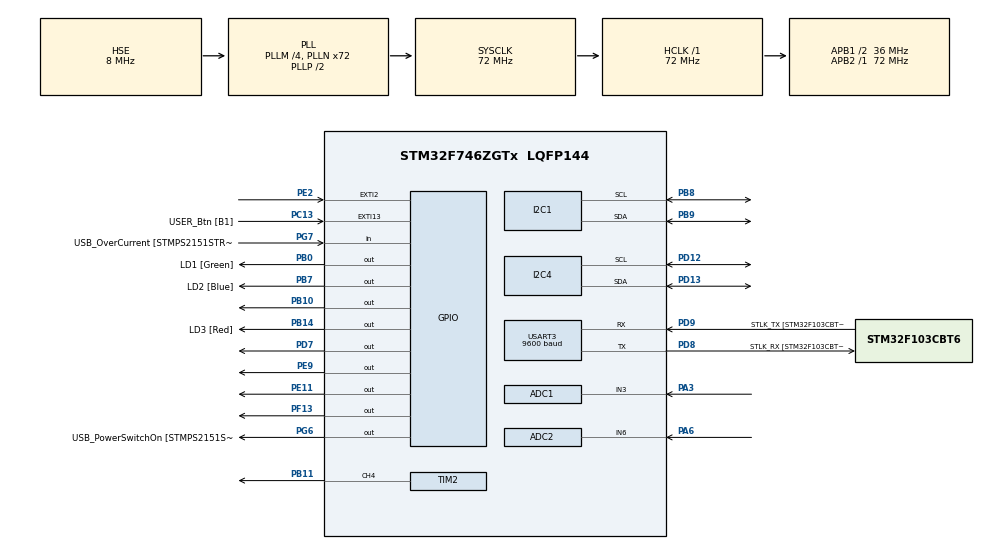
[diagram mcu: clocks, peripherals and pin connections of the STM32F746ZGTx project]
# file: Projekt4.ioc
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ADC1.Channel-0\#ChannelRegularConversion=ADC_CHANNEL_3
ADC1.NbrOfConversionFlag=1
ADC1.Rank-0\#ChannelRegularConversion=1
ADC1.SamplingTime-0\#ChannelRegularConversion=ADC_SAMPLETIME_3CYCLES
ADC1.master=1
ADC2.Channel-0\#ChannelRegularConversion=ADC_CHANNEL_6
ADC2.NbrOfConversionFlag=1
ADC2.Rank-0\#ChannelRegularConversion=1
ADC2.SamplingTime-0\#ChannelRegularConversion=ADC_SAMPLETIME_3CYCLES
I2C1.Timing=0x00808CD2
I2C4.Timing=0x00808CD2
Mcu.Family=STM32F7
Mcu.Name=STM32F746ZGTx
Mcu.Package=LQFP144
NVIC.ADC_IRQn=true\:0\:0\:false\:false\:true\:true\:true\:true
NVIC.EXTI15_10_IRQn=true\:0\:0\:false\:false\:true\:true\:true\:true
NVIC.EXTI2_IRQn=true\:0\:0\:false\:false\:true\:true\:true\:true
NVIC.PriorityGroup=NVIC_PRIORITYGROUP_4
NVIC.USART3_IRQn=true\:0\:0\:false\:false\:true\:true\:true\:true
PA1.GPIO_Label=RMII_REF_CLK [LAN8742A-CZ-TR_REFCLK0]
PA1.Signal=ETH_REF_CLK
PA10.GPIO_Label=USB_ID
PA10.Signal=USB_OTG_FS_ID
PA11.GPIO_Label=USB_DM
PA11.Signal=USB_OTG_FS_DM
PA12.GPIO_Label=USB_DP
PA12.Signal=USB_OTG_FS_DP
PA13.GPIO_Label=TMS
PA13.Mode=Serial_Wire
PA13.Signal=SYS_JTMS-SWDIO
PA14.GPIO_Label=TCK
PA14.Mode=Serial_Wire
PA14.Signal=SYS_JTCK-SWCLK
PA2.GPIO_Label=RMII_MDIO [LAN8742A-CZ-TR_MDIO]
PA2.Signal=ETH_MDIO
PA3.Signal=ADCx_IN3
PA6.Signal=ADCx_IN6
PA7.GPIO_Label=RMII_CRS_DV [LAN8742A-CZ-TR_CRS_DV]
PA7.Signal=ETH_CRS_DV
PA8.GPIO_Label=USB_SOF [TP1]
PA8.Signal=USB_OTG_FS_SOF
PA9.GPIO_Label=USB_VBUS
PA9.Signal=USB_OTG_FS_VBUS
PB0.GPIO_Label=LD1 [Green]
PB0.Signal=GPIO_Output
PB10.Signal=GPIO_Output
PB11.Signal=S_TIM2_CH4
PB13.GPIO_Label=RMII_TXD1 [LAN8742A-CZ-TR_TXD1]
PB13.Signal=ETH_TXD1
PB14.GPIO_Label=LD3 [Red]
PB14.Signal=GPIO_Output
PB3.GPIO_Label=SW0
PB3.Signal=SYS_JTDO-SWO
PB7.GPIO_Label=LD2 [Blue]
PB7.Signal=GPIO_Output
PB8.Mode=I2C
PB8.Signal=I2C1_SCL
PB9.Mode=I2C
PB9.Signal=I2C1_SDA
PC1.GPIO_Label=RMII_MDC [LAN8742A-CZ-TR_MDC]
PC1.Signal=ETH_MDC
PC13.GPIO_Label=USER_Btn [B1]
PC13.Signal=GPXTI13
PC14/OSC32_IN.Mode=LSE-External-Oscillator
PC14/OSC32_IN.Signal=RCC_OSC32_IN
PC15/OSC32_OUT.Mode=LSE-External-Oscillator
PC15/OSC32_OUT.Signal=RCC_OSC32_OUT
PC4.GPIO_Label=RMII_RXD0 [LAN8742A-CZ-TR_RXD0]
PC4.Signal=ETH_RXD0
PC5.GPIO_Label=RMII_RXD1 [LAN8742A-CZ-TR_RXD1]
PC5.Signal=ETH_RXD1
PD12.Mode=I2C
PD12.Signal=I2C4_SCL
PD13.Mode=I2C
PD13.Signal=I2C4_SDA
PD7.Signal=GPIO_Output
PD8.GPIO_Label=STLK_RX [STM32F103CBT6_PA3]
PD8.Mode=Asynchronous
PD8.Signal=USART3_TX
PD9.GPIO_Label=STLK_TX [STM32F103CBT6_PA2]
PD9.Mode=Asynchronous
PD9.Signal=USART3_RX
PE11.Signal=GPIO_Output
PE2.Signal=GPXTI2
PE9.Signal=GPIO_Output
PF13.Signal=GPIO_Output
PG11.GPIO_Label=RMII_TX_EN [LAN8742A-CZ-TR_TXEN]
PG11.Signal=ETH_TX_EN
PG13.GPIO_Label=RMII_TXD0 [LAN8742A-CZ-TR_TXD0]
PG13.Signal=ETH_TXD0
PG6.GPIO_Label=USB_PowerSwitchOn [STMPS2151STR_EN]
PG6.Signal=GPIO_Output
PG7.GPIO_Label=USB_OverCurrent [STMPS2151STR_FAULT]
PG7.Signal=GPIO_Input
PH0/OSC_IN.GPIO_Label=MCO [STM32F103CBT6_PA8]
PH0/OSC_IN.Mode=HSE-External-Clock-Source
PH0/OSC_IN.Signal=RCC_OSC_IN
PH1/OSC_OUT.Mode=HSE-External-Clock-Source
PH1/OSC_OUT.Signal=RCC_OSC_OUT
ProjectManager.HeapSize=0x200
ProjectManager.StackSize=0x400
ProjectManager.TargetToolchain=STM32CubeIDE
RCC.48MHZClocksFreq_Value=24000000
RCC.AHBFreq_Value=72000000
RCC.APB1CLKDivider=RCC_HCLK_DIV2
RCC.APB1Freq_Value=36000000
RCC.APB1TimFreq_Value=72000000
RCC.APB2Freq_Value=72000000
RCC.APB2TimFreq_Value=72000000
RCC.CortexFreq_Value=72000000
RCC.HCLKFreq_Value=72000000
RCC.HSE_VALUE=8000000
RCC.HSI_VALUE=16000000
RCC.PLLM=4
RCC.PLLMUL=RCC_PLL_MUL9
RCC.PLLN=72
RCC.PLLQ=3
RCC.PLLSourceVirtual=RCC_PLLSOURCE_HSE
RCC.PRESCALERUSB=RCC_USBCLKSOURCE_PLL_DIV1_5
RCC.SYSCLKFreq_VALUE=72000000
RCC.SYSCLKSource=RCC_SYSCLKSOURCE_PLLCLK
RCC.SYSCLKSourceVirtual=RCC_SYSCLKSOURCE_PLLCLK
RCC.USBFreq_Value=48000000
RCC.VCOOutputFreq_Value=144000000
SH.ADCx_IN3.0=ADC1_IN3,IN3
SH.ADCx_IN6.0=ADC2_IN6,IN6
SH.S_TIM2_CH4.0=TIM2_CH4,PWM Generation4 CH4
TIM2.Channel-PWM\ Generation4\ CH4=TIM_CHANNEL_4
TIM2.Period=1999
TIM2.Prescaler=71
TIM2.Pulse-PWM\ Generation4\ CH4=499
USART3.BaudRate=9600
USART3.VirtualMode-Asynchronous=VM_ASYNC
board=NUCLEO-F746ZG

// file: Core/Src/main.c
/* USER CODE BEGIN Header */
/**
  ******************************************************************************
  * @file           : main.c
  * @brief          : Main program body
  ******************************************************************************
  * @attention
  *
  * <h2><center>&copy; Copyright (c) 2021 STMicroelectronics.
  * All rights reserved.</center></h2>
  *
  * This software component is licensed by ST under BSD 3-Clause license,
  * the "License"; You may not use this file except in compliance with the
  * License. You may obtain a copy of the License at:
  *                        opensource.org/licenses/BSD-3-Clause
  *
  ******************************************************************************
  */
/* USER CODE END Header */
#include "main.h"

/* USER CODE BEGIN Includes */
#include "i2c-lcd.h"
#include <stdlib.h>
#include <stdio.h>
#include <string.h>
#include "ntc_config.h"
#include <stdbool.h>
#include <stdint.h>
/* USER CODE END Includes */

ADC_HandleTypeDef hadc1;
ADC_HandleTypeDef hadc2;

I2C_HandleTypeDef hi2c1;
I2C_HandleTypeDef hi2c4;

TIM_HandleTypeDef htim2;

UART_HandleTypeDef huart3;

/* USER CODE BEGIN PV */
#define ADC2_TIMEOUT 10
#define TEMP_SAMPLES 100
#define MAX_LENGTH 30

uint32_t last_adc_time = 0;
uint32_t last_lcd_time = 0;

float temperatura = 0.0f;
float temp_sum = 0.0f;
uint8_t temp_count = 0;
float heater_power = 0.0f;
float temperature, huminidity;
int32_t pressure;

unsigned int sen1_mV;

float sen1_temp_sh;
float temperatura;

float sen1_light_gamma;
float temp_zadana_enkoder = 25.0f;
float temp_zadana_terminal = 25.0f;
volatile float temp_zadana = 25.0f;

uint8_t uart_rx_char;
char uart_rx_buf[16];
uint8_t uart_rx_idx = 0;

typedef struct
{
    float Kp;
    float Ki;
    float Kd;

    float prev_error;
    float integral;

    float out_min;
    float out_max;
} PID_t;

PID_t pid = {
    .Kp = 1.0f,
    .Ki = 0.003f,
    .Kd = 0.00f,
    .prev_error = 0,
    .integral = 0,
    .out_min = 0.0f,
    .out_max = 100.0f
};

bool state = false;
uint32_t last_press_time = 0;
const uint32_t debounce_delay = 200;

unsigned int pot1_mV;
int temp_zadana_filtr = 0;
uint32_t last_change_time = 0;
static int temp_stabilna = 0;
static uint32_t last_big_change_time = 0;

/* USER CODE END PV */

void SystemClock_Config(void);
static void MX_GPIO_Init(void);
static void MX_USART3_UART_Init(void);
static void MX_I2C1_Init(void);
static void MX_I2C4_Init(void);
static void MX_ADC1_Init(void);
static void MX_TIM2_Init(void);
static void MX_ADC2_Init(void);

/* USER CODE BEGIN 0 */

// Funkcja - naciskanie przycisku
void HAL_GPIO_EXTI_Callback(uint16_t GPIO_Pin)
{
    if(GPIO_Pin == GPIO_PIN_2)
    {
        uint32_t current_time = HAL_GetTick();

        if(current_time - last_press_time > debounce_delay)
        {
            state = !state;
            last_press_time = current_time;
        }
    }
}

// Funkcja - stawianie sygnału PWM na grzałce
void SetHeaterPWM(float power_percent)
{
    if (power_percent < 0.0f) power_percent = 0.0f;
    if (power_percent > 100.0f) power_percent = 100.0f;

    uint32_t pwm = (uint32_t)((power_percent / 100.0f) * htim2.Init.Period);
    __HAL_TIM_SET_COMPARE(&htim2, TIM_CHANNEL_4, pwm);
}

// Funkcja - sczytywanie warttości zadanej z terminala
void UART_ReadSetTemperature(void)
{
    if (HAL_UART_Receive(&huart3, &uart_rx_char, 1, 0) == HAL_OK)
    {
        HAL_UART_Transmit(&huart3, &uart_rx_char, 1, 10);

        if (!(uart_rx_char >= '0' && uart_rx_char <= '9') &&
            uart_rx_char != '.' &&
            uart_rx_char != '-')
        {
            uart_rx_buf[uart_rx_idx] = '\0';

            if (uart_rx_idx > 0)
            {
                float temp = atof(uart_rx_buf);
                temp_zadana_terminal = temp;

                char msg[40];
                sprintf(msg, "\r\nOK: T_zad = %.2f\r\n", temp_zadana_terminal);
                HAL_UART_Transmit(&huart3, (uint8_t*)msg, strlen(msg), 100);
            }

            uart_rx_idx = 0;
        }
        else
        {
            if (uart_rx_idx < sizeof(uart_rx_buf) - 1)
            {
                uart_rx_buf[uart_rx_idx++] = uart_rx_char;
            }
        }
    }
}

// Funkcja - regulator PID
float PID_Compute(PID_t *pid, float setpoint, float measured)
{
    float error = setpoint - measured;

    pid->integral += error;

    if (pid->integral > 200.0f) pid->integral = 200.0f;
    if (pid->integral < -200.0f) pid->integral = -200.0f;

    float output =
        pid->Kp * error +
        pid->Ki * pid->integral +
        pid->Kd * (error - pid->prev_error);

    pid->prev_error = error;

    if (output > pid->out_max) output = pid->out_max;
    if (output < pid->out_min) output = pid->out_min;

    return output;
}

/* USER CODE END 0 */

int main(void)
{

  /* MCU Configuration--------------------------------------------------------*/

  /* Reset of all peripherals, Initializes the Flash interface and the Systick. */
  HAL_Init();

  /* Configure the system clock */
  SystemClock_Config();

  /* Initialize all configured peripherals */
  MX_GPIO_Init();
  MX_USART3_UART_Init();
  MX_I2C1_Init();
  MX_I2C4_Init();
  MX_ADC1_Init();
  MX_TIM2_Init();
  MX_ADC2_Init();
  /* USER CODE BEGIN 2 */
  lcd_init ();
  lcd_send_string ("PROJEKT");
  HAL_Delay(100);
  lcd_put_cur(1, 0);
  lcd_send_string("I2C4-LCD");
  HAL_Delay(1000);

  HAL_TIM_PWM_Start(&htim2, TIM_CHANNEL_4);

  bool button_prev_state = 0;
  uint32_t temp_zadana_enkoder;
  uint32_t pot1_mV = 0;
  char buffer[64];
  /* USER CODE END 2 */

  /* Infinite loop */
  /* USER CODE BEGIN WHILE */
  while (1)
  {
	  // Aktualny czas
	  uint32_t now = HAL_GetTick();

	  // Odczyt z potencjometru
	  HAL_ADC_Start(&hadc2);
	  if(HAL_ADC_PollForConversion(&hadc2, ADC2_TIMEOUT) == HAL_OK)
	  {
	      pot1_mV = ADC_REG2VOLTAGE(HAL_ADC_GetValue(&hadc2));
	  }
	  HAL_ADC_Stop(&hadc2);

	  // Odczyt z terminala
	  UART_ReadSetTemperature();

	  // Odczyt stanu przycisku
	  if(state)
	  {
	      HAL_GPIO_WritePin(GPIOF, GPIO_PIN_13, GPIO_PIN_SET);
	      HAL_GPIO_WritePin(GPIOE, GPIO_PIN_9, GPIO_PIN_RESET);
	      temp_zadana = temp_zadana_enkoder;
	  }
	  else
	  {
	      HAL_GPIO_WritePin(GPIOF, GPIO_PIN_13, GPIO_PIN_RESET);
	      HAL_GPIO_WritePin(GPIOE, GPIO_PIN_9, GPIO_PIN_SET);
	      temp_zadana = temp_zadana_terminal;
	  }

	  // Odczyt temperatury oraz usrednainie
	  if (now - last_adc_time >= 10)
	  {
		  last_adc_time = now;
		  HAL_ADC_Start(&hadc1);
	  	  if (HAL_ADC_PollForConversion(&hadc1, 10) == HAL_OK)
	  	  {
	  		  sen1_mV = ADC_REG2VOLTAGE(HAL_ADC_GetValue(&hadc1));
	  	      float temp_now = NTC_Beta_ReadTemperature_degC(&hntc1_beta, sen1_mV);
	  	      temp_sum += temp_now;
	  	      temp_count++;

	  	      if (temp_count >= TEMP_SAMPLES)
	  	      {
	  	    	  temperatura = temp_sum / TEMP_SAMPLES;
	  	          temp_sum = 0.0f;
	  	          temp_count = 0;
	  	      }
	  	  }
	  }

	  // Wyswietlanie danych na LCD i w terminalu
	  if (now - last_lcd_time >= 1000)
	  {
		  last_lcd_time = now;
		  char text[32];

	  	  lcd_clear();
	  	  lcd_put_cur(0, 0);
	  	  sprintf(text, "Temp: %.2f C", temperatura);
	  	  lcd_send_string(text);
	  	  lcd_put_cur(1, 0);
	  	  sprintf(text, "Zad:  %.2f C", temp_zadana);
	  	  lcd_send_string(text);

	  	  sprintf(text, "%.2f; %.2f\r\n", temperatura, temp_zadana);
	  	  HAL_UART_Transmit(&huart3, (uint8_t*)text, strlen(text), 100);
	  }

	  // PID
	  static uint32_t last_pid_time = 0;

	  if (now - last_pid_time >= 1000)
	  {
		  last_pid_time = now;
	  	  heater_power = PID_Compute(&pid, temp_zadana, temperatura);
	  	  SetHeaterPWM(heater_power);
	  }

	  // Awaryjne wyłączenie
	  if (temperatura > temp_zadana + 5.0f)
	  {
		  SetHeaterPWM(0);
	  }

	  // Wentylator
	  if (temperatura > temp_zadana + 10.0f)
	  {
		  HAL_GPIO_WritePin(GPIOB, GPIO_PIN_10, GPIO_PIN_SET);
	  }
	  else
	  {
		  HAL_GPIO_WritePin(GPIOB, GPIO_PIN_10, GPIO_PIN_RESET);
	  }

	  // Dioda kontrolna
	  if ((temperatura - temp_zadana) < 1.5f && (temperatura - temp_zadana) > -1.5f)
	  {
		  HAL_GPIO_WritePin(GPIOE, GPIO_PIN_11, GPIO_PIN_SET);
	  }
	  else
	  {
		  HAL_GPIO_WritePin(GPIOE, GPIO_PIN_11, GPIO_PIN_RESET);
	  }

	  // Temperatura zadana z enkodera
	  if(pot1_mV < 100) pot1_mV = 100;
	  if(pot1_mV > 3200) pot1_mV = 3200;
	  int temp_nowa = 20 + (pot1_mV - 100) * (220 - 20) / (3200 - 100);
	  int diff = abs(temp_nowa - temp_stabilna);

	  if (diff > 10)
	  {
	  	  temp_stabilna = temp_nowa;
	  	  last_big_change_time = now;
	  }
	  else
	  {
		  if ((now - last_big_change_time) <= 3000)
	  	  {
		      temp_stabilna = temp_nowa;
	  	  }
	  }
	  temp_zadana_enkoder = temp_stabilna;

  }
  	  /* USER CODE END WHILE */

}

void SystemClock_Config(void)
{
  RCC_OscInitTypeDef RCC_OscInitStruct = {0};
  RCC_ClkInitTypeDef RCC_ClkInitStruct = {0};

  /** Configure LSE Drive Capability
  */
  HAL_PWR_EnableBkUpAccess();

  /** Configure the main internal regulator output voltage
  */
  __HAL_RCC_PWR_CLK_ENABLE();
  __HAL_PWR_VOLTAGESCALING_CONFIG(PWR_REGULATOR_VOLTAGE_SCALE3);

  /** Initializes the RCC Oscillators according to the specified parameters
  * in the RCC_OscInitTypeDef structure.
  */
  RCC_OscInitStruct.OscillatorType = RCC_OSCILLATORTYPE_HSE;
  RCC_OscInitStruct.HSEState = RCC_HSE_BYPASS;
  RCC_OscInitStruct.PLL.PLLState = RCC_PLL_ON;
  RCC_OscInitStruct.PLL.PLLSource = RCC_PLLSOURCE_HSE;
  RCC_OscInitStruct.PLL.PLLM = 4;
  RCC_OscInitStruct.PLL.PLLN = 72;
  RCC_OscInitStruct.PLL.PLLP = RCC_PLLP_DIV2;
  RCC_OscInitStruct.PLL.PLLQ = 3;
  if (HAL_RCC_OscConfig(&RCC_OscInitStruct) != HAL_OK)
  {
    Error_Handler();
  }

  /** Initializes the CPU, AHB and APB buses clocks
  */
  RCC_ClkInitStruct.ClockType = RCC_CLOCKTYPE_HCLK|RCC_CLOCKTYPE_SYSCLK
                              |RCC_CLOCKTYPE_PCLK1|RCC_CLOCKTYPE_PCLK2;
  RCC_ClkInitStruct.SYSCLKSource = RCC_SYSCLKSOURCE_PLLCLK;
  RCC_ClkInitStruct.AHBCLKDivider = RCC_SYSCLK_DIV1;
  RCC_ClkInitStruct.APB1CLKDivider = RCC_HCLK_DIV2;
  RCC_ClkInitStruct.APB2CLKDivider = RCC_HCLK_DIV1;

  if (HAL_RCC_ClockConfig(&RCC_ClkInitStruct, FLASH_LATENCY_2) != HAL_OK)
  {
    Error_Handler();
  }
}

static void MX_ADC1_Init(void)
{

  ADC_ChannelConfTypeDef sConfig = {0};

  /** Configure the global features of the ADC (Clock, Resolution, Data Alignment and number of conversion)
  */
  hadc1.Instance = ADC1;
  hadc1.Init.ClockPrescaler = ADC_CLOCK_SYNC_PCLK_DIV2;
  hadc1.Init.Resolution = ADC_RESOLUTION_12B;
  hadc1.Init.ScanConvMode = ADC_SCAN_DISABLE;
  hadc1.Init.ContinuousConvMode = DISABLE;
  hadc1.Init.DiscontinuousConvMode = DISABLE;
  hadc1.Init.ExternalTrigConvEdge = ADC_EXTERNALTRIGCONVEDGE_NONE;
  hadc1.Init.ExternalTrigConv = ADC_SOFTWARE_START;
  hadc1.Init.DataAlign = ADC_DATAALIGN_RIGHT;
  hadc1.Init.NbrOfConversion = 1;
  hadc1.Init.DMAContinuousRequests = DISABLE;
  hadc1.Init.EOCSelection = ADC_EOC_SINGLE_CONV;
  if (HAL_ADC_Init(&hadc1) != HAL_OK)
  {
    Error_Handler();
  }

  /** Configure for the selected ADC regular channel its corresponding rank in the sequencer and its sample time.
  */
  sConfig.Channel = ADC_CHANNEL_3;
  sConfig.Rank = ADC_REGULAR_RANK_1;
  sConfig.SamplingTime = ADC_SAMPLETIME_3CYCLES;
  if (HAL_ADC_ConfigChannel(&hadc1, &sConfig) != HAL_OK)
  {
    Error_Handler();
  }

}

static void MX_ADC2_Init(void)
{

  ADC_ChannelConfTypeDef sConfig = {0};

  /** Configure the global features of the ADC (Clock, Resolution, Data Alignment and number of conversion)
  */
  hadc2.Instance = ADC2;
  hadc2.Init.ClockPrescaler = ADC_CLOCK_SYNC_PCLK_DIV2;
  hadc2.Init.Resolution = ADC_RESOLUTION_12B;
  hadc2.Init.ScanConvMode = ADC_SCAN_DISABLE;
  hadc2.Init.ContinuousConvMode = DISABLE;
  hadc2.Init.DiscontinuousConvMode = DISABLE;
  hadc2.Init.ExternalTrigConvEdge = ADC_EXTERNALTRIGCONVEDGE_NONE;
  hadc2.Init.ExternalTrigConv = ADC_SOFTWARE_START;
  hadc2.Init.DataAlign = ADC_DATAALIGN_RIGHT;
  hadc2.Init.NbrOfConversion = 1;
  hadc2.Init.DMAContinuousRequests = DISABLE;
  hadc2.Init.EOCSelection = ADC_EOC_SINGLE_CONV;
  if (HAL_ADC_Init(&hadc2) != HAL_OK)
  {
    Error_Handler();
  }

  /** Configure for the selected ADC regular channel its corresponding rank in the sequencer and its sample time.
  */
  sConfig.Channel = ADC_CHANNEL_6;
  sConfig.Rank = ADC_REGULAR_RANK_1;
  sConfig.SamplingTime = ADC_SAMPLETIME_3CYCLES;
  if (HAL_ADC_ConfigChannel(&hadc2, &sConfig) != HAL_OK)
  {
    Error_Handler();
  }

}

static void MX_I2C1_Init(void)
{

  hi2c1.Instance = I2C1;
  hi2c1.Init.Timing = 0x00808CD2;
  hi2c1.Init.OwnAddress1 = 0;
  hi2c1.Init.AddressingMode = I2C_ADDRESSINGMODE_7BIT;
  hi2c1.Init.DualAddressMode = I2C_DUALADDRESS_DISABLE;
  hi2c1.Init.OwnAddress2 = 0;
  hi2c1.Init.OwnAddress2Masks = I2C_OA2_NOMASK;
  hi2c1.Init.GeneralCallMode = I2C_GENERALCALL_DISABLE;
  hi2c1.Init.NoStretchMode = I2C_NOSTRETCH_DISABLE;
  if (HAL_I2C_Init(&hi2c1) != HAL_OK)
  {
    Error_Handler();
  }

  /** Configure Analogue filter
  */
  if (HAL_I2CEx_ConfigAnalogFilter(&hi2c1, I2C_ANALOGFILTER_ENABLE) != HAL_OK)
  {
    Error_Handler();
  }

  /** Configure Digital filter
  */
  if (HAL_I2CEx_ConfigDigitalFilter(&hi2c1, 0) != HAL_OK)
  {
    Error_Handler();
  }

}

static void MX_I2C4_Init(void)
{

  hi2c4.Instance = I2C4;
  hi2c4.Init.Timing = 0x00808CD2;
  hi2c4.Init.OwnAddress1 = 0;
  hi2c4.Init.AddressingMode = I2C_ADDRESSINGMODE_7BIT;
  hi2c4.Init.DualAddressMode = I2C_DUALADDRESS_DISABLE;
  hi2c4.Init.OwnAddress2 = 0;
  hi2c4.Init.OwnAddress2Masks = I2C_OA2_NOMASK;
  hi2c4.Init.GeneralCallMode = I2C_GENERALCALL_DISABLE;
  hi2c4.Init.NoStretchMode = I2C_NOSTRETCH_DISABLE;
  if (HAL_I2C_Init(&hi2c4) != HAL_OK)
  {
    Error_Handler();
  }

  /** Configure Analogue filter
  */
  if (HAL_I2CEx_ConfigAnalogFilter(&hi2c4, I2C_ANALOGFILTER_ENABLE) != HAL_OK)
  {
    Error_Handler();
  }

  /** Configure Digital filter
  */
  if (HAL_I2CEx_ConfigDigitalFilter(&hi2c4, 0) != HAL_OK)
  {
    Error_Handler();
  }

}

static void MX_TIM2_Init(void)
{

  TIM_MasterConfigTypeDef sMasterConfig = {0};
  TIM_OC_InitTypeDef sConfigOC = {0};

  htim2.Instance = TIM2;
  htim2.Init.Prescaler = 71;
  htim2.Init.CounterMode = TIM_COUNTERMODE_UP;
  htim2.Init.Period = 1999;
  htim2.Init.ClockDivision = TIM_CLOCKDIVISION_DIV1;
  htim2.Init.AutoReloadPreload = TIM_AUTORELOAD_PRELOAD_DISABLE;
  if (HAL_TIM_PWM_Init(&htim2) != HAL_OK)
  {
    Error_Handler();
  }
  sMasterConfig.MasterOutputTrigger = TIM_TRGO_RESET;
  sMasterConfig.MasterSlaveMode = TIM_MASTERSLAVEMODE_DISABLE;
  if (HAL_TIMEx_MasterConfigSynchronization(&htim2, &sMasterConfig) != HAL_OK)
  {
    Error_Handler();
  }
  sConfigOC.OCMode = TIM_OCMODE_PWM1;
  sConfigOC.Pulse = 499;
  sConfigOC.OCPolarity = TIM_OCPOLARITY_HIGH;
  sConfigOC.OCFastMode = TIM_OCFAST_DISABLE;
  if (HAL_TIM_PWM_ConfigChannel(&htim2, &sConfigOC, TIM_CHANNEL_4) != HAL_OK)
  {
    Error_Handler();
  }
  HAL_TIM_MspPostInit(&htim2);

}

static void MX_USART3_UART_Init(void)
{

  huart3.Instance = USART3;
  huart3.Init.BaudRate = 9600;
  huart3.Init.WordLength = UART_WORDLENGTH_8B;
  huart3.Init.StopBits = UART_STOPBITS_1;
  huart3.Init.Parity = UART_PARITY_NONE;
  huart3.Init.Mode = UART_MODE_TX_RX;
  huart3.Init.HwFlowCtl = UART_HWCONTROL_NONE;
  huart3.Init.OverSampling = UART_OVERSAMPLING_16;
  huart3.Init.OneBitSampling = UART_ONE_BIT_SAMPLE_DISABLE;
  huart3.AdvancedInit.AdvFeatureInit = UART_ADVFEATURE_NO_INIT;
  if (HAL_UART_Init(&huart3) != HAL_OK)
  {
    Error_Handler();
  }

}

static void MX_GPIO_Init(void)
{
  GPIO_InitTypeDef GPIO_InitStruct = {0};

  /* GPIO Ports Clock Enable */
  __HAL_RCC_GPIOE_CLK_ENABLE();
  __HAL_RCC_GPIOC_CLK_ENABLE();
  __HAL_RCC_GPIOH_CLK_ENABLE();
  __HAL_RCC_GPIOA_CLK_ENABLE();
  __HAL_RCC_GPIOB_CLK_ENABLE();
  __HAL_RCC_GPIOF_CLK_ENABLE();
  __HAL_RCC_GPIOD_CLK_ENABLE();
  __HAL_RCC_GPIOG_CLK_ENABLE();

  /*Configure GPIO pin Output Level */
  HAL_GPIO_WritePin(GPIOB, LD1_Pin|GPIO_PIN_10|LD3_Pin|LD2_Pin, GPIO_PIN_RESET);

  /*Configure GPIO pin Output Level */
  HAL_GPIO_WritePin(GPIOF, GPIO_PIN_13, GPIO_PIN_RESET);

  /*Configure GPIO pin Output Level */
  HAL_GPIO_WritePin(GPIOE, GPIO_PIN_9|GPIO_PIN_11, GPIO_PIN_RESET);

  /*Configure GPIO pin Output Level */
  HAL_GPIO_WritePin(USB_PowerSwitchOn_GPIO_Port, USB_PowerSwitchOn_Pin, GPIO_PIN_RESET);

  /*Configure GPIO pin Output Level */
  HAL_GPIO_WritePin(GPIOD, GPIO_PIN_7, GPIO_PIN_RESET);

  /*Configure GPIO pin : PE2 */
  GPIO_InitStruct.Pin = GPIO_PIN_2;
  GPIO_InitStruct.Mode = GPIO_MODE_IT_RISING;
  GPIO_InitStruct.Pull = GPIO_NOPULL;
  HAL_GPIO_Init(GPIOE, &GPIO_InitStruct);

  /*Configure GPIO pin : USER_Btn_Pin */
  GPIO_InitStruct.Pin = USER_Btn_Pin;
  GPIO_InitStruct.Mode = GPIO_MODE_IT_RISING;
  GPIO_InitStruct.Pull = GPIO_NOPULL;
  HAL_GPIO_Init(USER_Btn_GPIO_Port, &GPIO_InitStruct);

  /*Configure GPIO pins : RMII_MDC_Pin RMII_RXD0_Pin RMII_RXD1_Pin */
  GPIO_InitStruct.Pin = RMII_MDC_Pin|RMII_RXD0_Pin|RMII_RXD1_Pin;
  GPIO_InitStruct.Mode = GPIO_MODE_AF_PP;
  GPIO_InitStruct.Pull = GPIO_NOPULL;
  GPIO_InitStruct.Speed = GPIO_SPEED_FREQ_VERY_HIGH;
  GPIO_InitStruct.Alternate = GPIO_AF11_ETH;
  HAL_GPIO_Init(GPIOC, &GPIO_InitStruct);

  /*Configure GPIO pins : RMII_REF_CLK_Pin RMII_MDIO_Pin RMII_CRS_DV_Pin */
  GPIO_InitStruct.Pin = RMII_REF_CLK_Pin|RMII_MDIO_Pin|RMII_CRS_DV_Pin;
  GPIO_InitStruct.Mode = GPIO_MODE_AF_PP;
  GPIO_InitStruct.Pull = GPIO_NOPULL;
  GPIO_InitStruct.Speed = GPIO_SPEED_FREQ_VERY_HIGH;
  GPIO_InitStruct.Alternate = GPIO_AF11_ETH;
  HAL_GPIO_Init(GPIOA, &GPIO_InitStruct);

  /*Configure GPIO pins : LD1_Pin PB10 LD3_Pin LD2_Pin */
  GPIO_InitStruct.Pin = LD1_Pin|GPIO_PIN_10|LD3_Pin|LD2_Pin;
  GPIO_InitStruct.Mode = GPIO_MODE_OUTPUT_PP;
  GPIO_InitStruct.Pull = GPIO_NOPULL;
  GPIO_InitStruct.Speed = GPIO_SPEED_FREQ_LOW;
  HAL_GPIO_Init(GPIOB, &GPIO_InitStruct);

  /*Configure GPIO pin : PF13 */
  GPIO_InitStruct.Pin = GPIO_PIN_13;
  GPIO_InitStruct.Mode = GPIO_MODE_OUTPUT_PP;
  GPIO_InitStruct.Pull = GPIO_NOPULL;
  GPIO_InitStruct.Speed = GPIO_SPEED_FREQ_LOW;
  HAL_GPIO_Init(GPIOF, &GPIO_InitStruct);

  /*Configure GPIO pins : PE9 PE11 */
  GPIO_InitStruct.Pin = GPIO_PIN_9|GPIO_PIN_11;
  GPIO_InitStruct.Mode = GPIO_MODE_OUTPUT_PP;
  GPIO_InitStruct.Pull = GPIO_NOPULL;
  GPIO_InitStruct.Speed = GPIO_SPEED_FREQ_LOW;
  HAL_GPIO_Init(GPIOE, &GPIO_InitStruct);

  /*Configure GPIO pin : RMII_TXD1_Pin */
  GPIO_InitStruct.Pin = RMII_TXD1_Pin;
  GPIO_InitStruct.Mode = GPIO_MODE_AF_PP;
  GPIO_InitStruct.Pull = GPIO_NOPULL;
  GPIO_InitStruct.Speed = GPIO_SPEED_FREQ_VERY_HIGH;
  GPIO_InitStruct.Alternate = GPIO_AF11_ETH;
  HAL_GPIO_Init(RMII_TXD1_GPIO_Port, &GPIO_InitStruct);

  /*Configure GPIO pin : USB_PowerSwitchOn_Pin */
  GPIO_InitStruct.Pin = USB_PowerSwitchOn_Pin;
  GPIO_InitStruct.Mode = GPIO_MODE_OUTPUT_PP;
  GPIO_InitStruct.Pull = GPIO_NOPULL;
  GPIO_InitStruct.Speed = GPIO_SPEED_FREQ_LOW;
  HAL_GPIO_Init(USB_PowerSwitchOn_GPIO_Port, &GPIO_InitStruct);

  /*Configure GPIO pin : USB_OverCurrent_Pin */
  GPIO_InitStruct.Pin = USB_OverCurrent_Pin;
  GPIO_InitStruct.Mode = GPIO_MODE_INPUT;
  GPIO_InitStruct.Pull = GPIO_NOPULL;
  HAL_GPIO_Init(USB_OverCurrent_GPIO_Port, &GPIO_InitStruct);

  /*Configure GPIO pins : USB_SOF_Pin USB_ID_Pin USB_DM_Pin USB_DP_Pin */
  GPIO_InitStruct.Pin = USB_SOF_Pin|USB_ID_Pin|USB_DM_Pin|USB_DP_Pin;
  GPIO_InitStruct.Mode = GPIO_MODE_AF_PP;
  GPIO_InitStruct.Pull = GPIO_NOPULL;
  GPIO_InitStruct.Speed = GPIO_SPEED_FREQ_VERY_HIGH;
  GPIO_InitStruct.Alternate = GPIO_AF10_OTG_FS;
  HAL_GPIO_Init(GPIOA, &GPIO_InitStruct);

  /*Configure GPIO pin : USB_VBUS_Pin */
  GPIO_InitStruct.Pin = USB_VBUS_Pin;
  GPIO_InitStruct.Mode = GPIO_MODE_INPUT;
  GPIO_InitStruct.Pull = GPIO_NOPULL;
  HAL_GPIO_Init(USB_VBUS_GPIO_Port, &GPIO_InitStruct);

  /*Configure GPIO pin : PD7 */
  GPIO_InitStruct.Pin = GPIO_PIN_7;
  GPIO_InitStruct.Mode = GPIO_MODE_OUTPUT_PP;
  GPIO_InitStruct.Pull = GPIO_NOPULL;
  GPIO_InitStruct.Speed = GPIO_SPEED_FREQ_LOW;
  HAL_GPIO_Init(GPIOD, &GPIO_InitStruct);

  /*Configure GPIO pins : RMII_TX_EN_Pin RMII_TXD0_Pin */
  GPIO_InitStruct.Pin = RMII_TX_EN_Pin|RMII_TXD0_Pin;
  GPIO_InitStruct.Mode = GPIO_MODE_AF_PP;
  GPIO_InitStruct.Pull = GPIO_NOPULL;
  GPIO_InitStruct.Speed = GPIO_SPEED_FREQ_VERY_HIGH;
  GPIO_InitStruct.Alternate = GPIO_AF11_ETH;
  HAL_GPIO_Init(GPIOG, &GPIO_InitStruct);

  /* EXTI interrupt init*/
  HAL_NVIC_SetPriority(EXTI2_IRQn, 0, 0);
  HAL_NVIC_EnableIRQ(EXTI2_IRQn);

  HAL_NVIC_SetPriority(EXTI15_10_IRQn, 0, 0);
  HAL_NVIC_EnableIRQ(EXTI15_10_IRQn);

}

void Error_Handler(void)
{
  __disable_irq();
  while (1)
  {
  }
}
